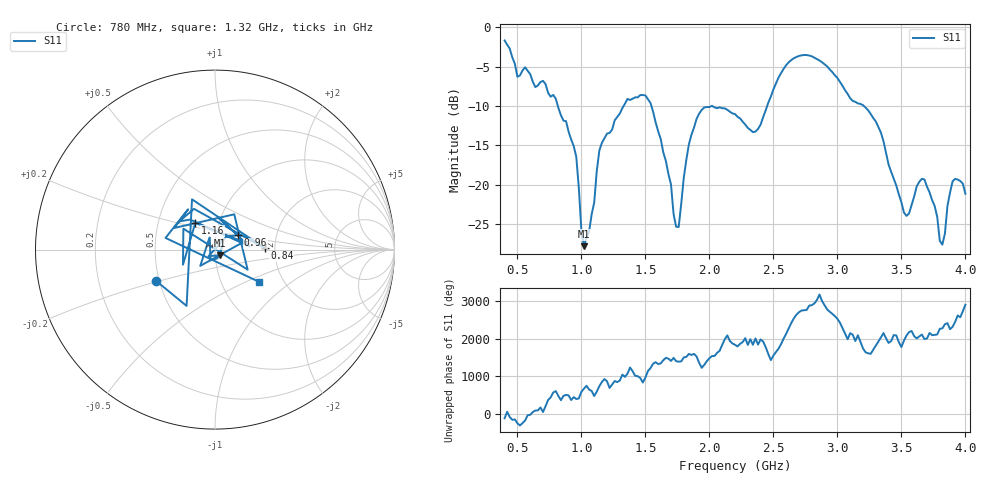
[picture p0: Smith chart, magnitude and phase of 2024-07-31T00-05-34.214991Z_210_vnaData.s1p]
!Created with skrf (http://scikit-rf.org).
# Hz S RI R 50.0
!freq ReS11 ImS11
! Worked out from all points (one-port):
!   181 points, 400 MHz to 4 GHz, reference 50 ohm
!   lowest |S11| = -27.8 dB at 1.02 GHz (marker M1), VSWR 1.09, Z = 52.5 - j3.34 ohm
!   |S11| at or under -10 dB: 816 MHz to 1.33 GHz (513.7 MHz wide, 47.9 % of centre); 1.547 GHz to 2.017 GHz (469.9 MHz wide, 26.4 % of centre); 3.207 GHz to end of sweep (the widest 3 of 4)
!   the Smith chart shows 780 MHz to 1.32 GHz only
!   S11 on the Smith chart (normalised r, x): 780 MHz: 0.48, -0.19; 840 MHz: 1.76, +0.03; 960 MHz: 1.27, +0.21; 1.16 GHz: 0.77, +0.24; 1.32 GHz: 1.51, -0.60
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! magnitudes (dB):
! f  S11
! 400 MHz  -1.7
! 500 MHz  -6.3
! 560 MHz  -5.1
! 780 MHz  -8.6
! 840 MHz  -11.2
! 860 MHz  -11.9
! 960 MHz  -16.4
! 1 GHz  -25.8
! 1.02 GHz  -27.8
! 1.1 GHz  -22.2
! 1.16 GHz  -14.7
! 1.3 GHz  -11.0
! 1.32 GHz  -10.3
! 1.54 GHz  -9.6
! 1.76 GHz  -25.3
! 1.84 GHz  -14.8
! 1.92 GHz  -11.0
! 2.2 GHz  -11.0
! 2.36 GHz  -13.2
! 2.66 GHz  -3.9
! 2.88 GHz  -4.5
! 3.1 GHz  -9.0
! 3.3 GHz  -12.0
! 3.56 GHz  -23.6
! 3.68 GHz  -19.3
! 3.82 GHz  -27.6
! 3.9 GHz  -19.6
! 4 GHz  -21.1
